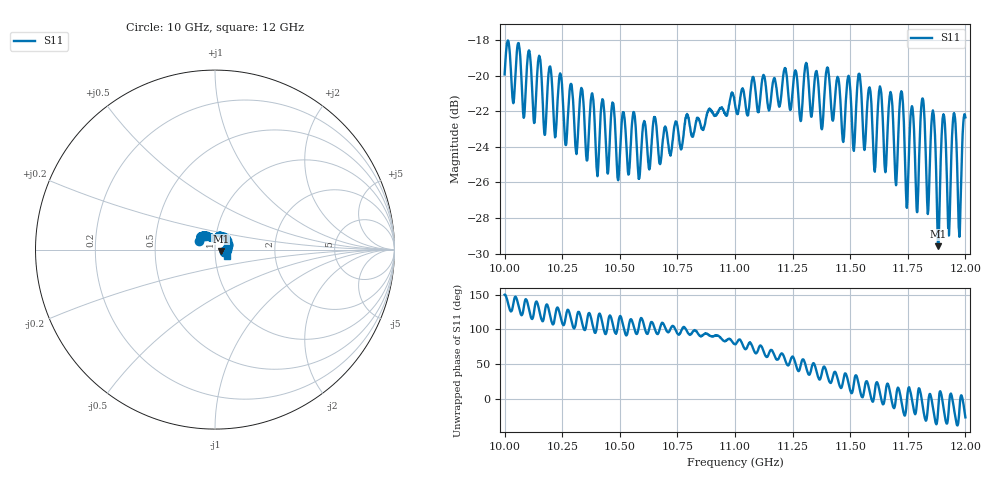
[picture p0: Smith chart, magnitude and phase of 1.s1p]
[Version] 2.0
! Rohde & Schwarz Vector Network Analyzer
! Rohde-Schwarz,ZNL20-2Port,1323001220200009,1.71.1.10-23.02.1.238
! Port Assignments:
! Nominal Port -> Actual Test Port
!  1 -> 1
! Created: GMT 2024-09-04 11:57:55
# Hz S DB R 50
[Number of Ports] 1
! freq[Hz]  S11[mag dB]  S11[ang]
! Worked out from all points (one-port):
!   2001 points, 10 GHz to 12 GHz, reference 50 ohm
!   lowest |S11| = -29.6 dB at 11.88 GHz (marker M1), VSWR 1.07, Z = 53.3 - j0.796 ohm
!   |S11| at or under -10 dB: start of sweep to end of sweep
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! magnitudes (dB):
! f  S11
! 10 GHz  -19.9
! 10.25 GHz  -20.7
! 10.5 GHz  -24.6
! 10.75 GHz  -22.8
! 11 GHz  -21.7
! 11.25 GHz  -20.9
! 11.5 GHz  -20.7
! 11.54 GHz  -19.9
! 11.56 GHz  -24.2
! 11.58 GHz  -20.7
! 11.61 GHz  -25.3
! 11.63 GHz  -20.7
! 11.65 GHz  -25.4
! 11.68 GHz  -21.0
! 11.7 GHz  -26.2
! 11.72 GHz  -20.9
! 11.75 GHz  -26.5
! 11.77 GHz  -21.7
! 11.79 GHz  -27.6
! 11.81 GHz  -21.3
! 11.84 GHz  -27.8
! 11.86 GHz  -22.1
! 11.88 GHz  -29.6
! 11.9 GHz  -22.2
! 11.93 GHz  -29.0
! 11.95 GHz  -22.2
! 11.97 GHz  -29.0
! 12 GHz  -22.3
